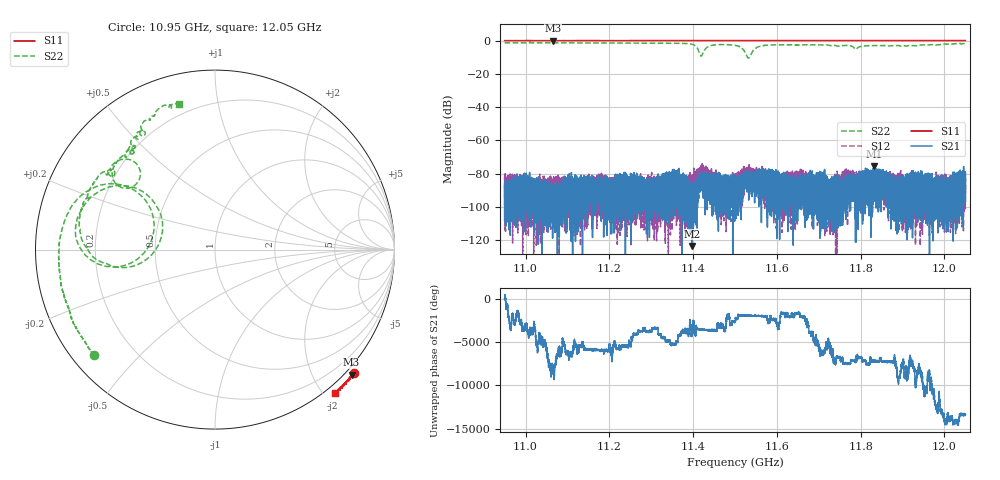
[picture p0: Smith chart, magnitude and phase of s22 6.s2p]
!Agilent Technologies,E8362C,MY49020356,A.09.42.23
!Agilent E8362C: A.09.42.23
!Date: Saturday, September 11, 2021 04:14:44
!Correction: S11(Full 2 Port(1,2))
!S21(Full 2 Port(1,2))
!S12(Full 2 Port(1,2))
!S22(Full 2 Port(1,2))
!S2P File: Measurements: S11, S21, S12, S22:
# Hz S  MA  R 50
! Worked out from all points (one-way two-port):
!   32001 points, 10.95 GHz to 12.05 GHz, reference 50 ohm
!   highest |S21| = -75.64 dB at 11.83 GHz (marker M1); lowest = -123.7 dB at 11.4 GHz (marker M2)
!   lowest |S11| = 0.3 dB at 11.07 GHz (marker M3)
!   |S11| at or under -10 dB: nowhere
!   |S22| runs from -10.3 to -1.0 dB; largest |S21 - S12| = 0.00018
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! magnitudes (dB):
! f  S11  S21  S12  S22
! 10.95 GHz  0.3  -86.0  -93.7  -1.0
! 11.07 GHz  0.3  -90.9  -84.3  -1.0
! 11.13 GHz  0.3  -85.6  -110.6  -1.1
! 11.32 GHz  0.3  -86.8  -89.6  -1.2
! 11.4 GHz  0.3  -123.7  -89.3  -1.9
! 11.41 GHz  0.3  -90.4  -82.1  -3.1
! 11.42 GHz  0.3  -81.3  -85.7  -7.7
! 11.42 GHz  0.3  -81.6  -79.4  -9.0
! 11.43 GHz  0.3  -82.9  -77.0  -3.9
! 11.44 GHz  0.3  -88.1  -84.3  -2.7
! 11.5 GHz  0.4  -87.1  -87.0  -2.6
! 11.52 GHz  0.4  -89.5  -86.2  -4.1
! 11.53 GHz  0.3  -81.1  -79.8  -10.3
! 11.55 GHz  0.3  -80.3  -86.6  -4.5
! 11.56 GHz  0.3  -77.8  -81.6  -3.0
! 11.68 GHz  0.4  -97.8  -86.4  -2.2
! 11.77 GHz  0.3  -89.0  -77.5  -2.6
! 11.79 GHz  0.3  -88.5  -91.3  -4.8
! 11.8 GHz  0.4  -81.7  -85.6  -3.0
! 11.83 GHz  0.4  -75.6  -87.0  -2.7
! 11.87 GHz  0.4  -85.5  -84.0  -2.9
! 12.05 GHz  0.4  -88.2  -92.6  -1.6
